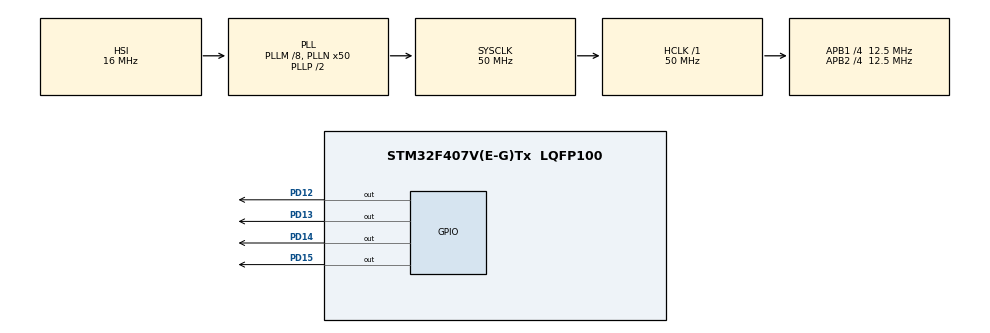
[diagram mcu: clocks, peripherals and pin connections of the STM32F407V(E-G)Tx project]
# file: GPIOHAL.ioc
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FREERTOS.INCLUDE_vTaskDelayUntil=1
FREERTOS.Tasks01=defaultTask,0,128,StartDefaultTask,Default,NULL,Dynamic,NULL,NULL;myTask02,-3,128,StartTask02,Default,NULL,Dynamic,NULL,NULL
FREERTOS.configUSE_NEWLIB_REENTRANT=1
Mcu.Family=STM32F4
Mcu.Name=STM32F407V(E-G)Tx
Mcu.Package=LQFP100
NVIC.PriorityGroup=NVIC_PRIORITYGROUP_4
PD12.Signal=GPIO_Output
PD13.Signal=GPIO_Output
PD14.Signal=GPIO_Output
PD15.Signal=GPIO_Output
ProjectManager.HeapSize=0x200
ProjectManager.StackSize=0x400
ProjectManager.TargetToolchain=STM32CubeIDE
RCC.48MHZClocksFreq_Value=14285714.285714285
RCC.AHBFreq_Value=50000000
RCC.APB1CLKDivider=RCC_HCLK_DIV4
RCC.APB1Freq_Value=12500000
RCC.APB1TimFreq_Value=25000000
RCC.APB2CLKDivider=RCC_HCLK_DIV4
RCC.APB2Freq_Value=12500000
RCC.APB2TimFreq_Value=25000000
RCC.CortexFreq_Value=50000000
RCC.HCLKFreq_Value=50000000
RCC.HSE_VALUE=8000000
RCC.HSI_VALUE=16000000
RCC.LSE_VALUE=32768
RCC.PLLM=8
RCC.PLLN=50
RCC.PLLQ=7
RCC.SYSCLKFreq_VALUE=50000000
RCC.SYSCLKSource=RCC_SYSCLKSOURCE_PLLCLK
RCC.VCOOutputFreq_Value=100000000
VP_FREERTOS_VS_CMSIS_V1.Mode=CMSIS_V1
board=STM32F407G-DISC1

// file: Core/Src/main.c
/* USER CODE BEGIN Header */
/**
  ******************************************************************************
  * @file           : main.c
  * @brief          : Main program body
  ******************************************************************************
  * @attention
  *
  * Copyright (c) 2024 STMicroelectronics.
  * All rights reserved.
  *
  * This software is licensed under terms that can be found in the LICENSE file
  * in the root directory of this software component.
  * If no LICENSE file comes with this software, it is provided AS-IS.
  *
  ******************************************************************************
  */
/* USER CODE END Header */
#include "main.h"
#include "cmsis_os.h"

osThreadId defaultTaskHandle;
osThreadId myTask02Handle;

void SystemClock_Config(void);
static void MX_GPIO_Init(void);
void StartDefaultTask(void const * argument);
void StartTask02(void const * argument);

/* USER CODE BEGIN 0 */
/*
void vCountinuousTask(void *pvParam){
	uint16_t pin =(uint16_t)pvParam;
	while(1){
			HAL_GPIO_TogglePin(GPIOD,pin);
			vTaskDelay(2000/portTICK_RATE_MS);
	}
	vTaskDelete(NULL);
}
*/
void vPeriodicTask(void *pvParam)
{
	uint16_t pin =(uint16_t)pvParam;
	portTickType xLastWakeupTime =  xTaskGetTickCount();
	while (1)
	{
		HAL_GPIO_TogglePin(GPIOD,pin);
		vTaskDelayUntil(&xLastWakeupTime ,3000 / portTICK_RATE_MS);
	}
}

/* USER CODE END 0 */

int main(void)
{

  /* USER CODE BEGIN 1 */
  BaseType_t xRet;
  /* USER CODE END 1 */

  /* MCU Configuration--------------------------------------------------------*/

  /* Reset of all peripherals, Initializes the Flash interface and the Systick. */
  HAL_Init();

  /* Configure the system clock */
  SystemClock_Config();

  /* Initialize all configured peripherals */
  MX_GPIO_Init();

  /* Create the thread(s) */
  /* definition and creation of defaultTask */
  osThreadDef(defaultTask, StartDefaultTask, osPriorityNormal, 0, 128);
  defaultTaskHandle = osThreadCreate(osThread(defaultTask), NULL);

  /* definition and creation of myTask02 */
  osThreadDef(myTask02, StartTask02, osPriorityIdle, 0, 128);
  myTask02Handle = osThreadCreate(osThread(myTask02), NULL);

  /* USER CODE BEGIN RTOS_THREADS */
  /* add threads, ... */
  xRet = xTaskCreate(vPeriodicTask, "Task2", configMINIMAL_STACK_SIZE , (void *)GPIO_PIN_14,4, NULL);
             if(xRet != pdTRUE)
           	  Error_Handler();
      xRet = xTaskCreate(vPeriodicTask, "Task2", configMINIMAL_STACK_SIZE , (void *)GPIO_PIN_15,4, NULL);
                   if(xRet != pdTRUE)
                 	  Error_Handler();
    xRet = xTaskCreate(vPeriodicTask, "Task2", configMINIMAL_STACK_SIZE , (void *)GPIO_PIN_13,4, NULL);
           if(xRet != pdTRUE)
         	  Error_Handler();
    xRet = xTaskCreate(vPeriodicTask, "Task2", configMINIMAL_STACK_SIZE , (void *)GPIO_PIN_12,4, NULL);
                 if(xRet != pdTRUE)
               	  Error_Handler();
  /* USER CODE END RTOS_THREADS */

  /* Start scheduler */
  osKernelStart();

  /* We should never get here as control is now taken by the scheduler */

  /* Infinite loop */
  while (1)
  {

  }
}

void SystemClock_Config(void)
{
  RCC_OscInitTypeDef RCC_OscInitStruct = {0};
  RCC_ClkInitTypeDef RCC_ClkInitStruct = {0};

  /** Configure the main internal regulator output voltage
  */
  __HAL_RCC_PWR_CLK_ENABLE();
  __HAL_PWR_VOLTAGESCALING_CONFIG(PWR_REGULATOR_VOLTAGE_SCALE1);

  /** Initializes the RCC Oscillators according to the specified parameters
  * in the RCC_OscInitTypeDef structure.
  */
  RCC_OscInitStruct.OscillatorType = RCC_OSCILLATORTYPE_HSI;
  RCC_OscInitStruct.HSIState = RCC_HSI_ON;
  RCC_OscInitStruct.HSICalibrationValue = RCC_HSICALIBRATION_DEFAULT;
  RCC_OscInitStruct.PLL.PLLState = RCC_PLL_ON;
  RCC_OscInitStruct.PLL.PLLSource = RCC_PLLSOURCE_HSI;
  RCC_OscInitStruct.PLL.PLLM = 8;
  RCC_OscInitStruct.PLL.PLLN = 50;
  RCC_OscInitStruct.PLL.PLLP = RCC_PLLP_DIV2;
  RCC_OscInitStruct.PLL.PLLQ = 7;
  if (HAL_RCC_OscConfig(&RCC_OscInitStruct) != HAL_OK)
  {
    Error_Handler();
  }

  /** Initializes the CPU, AHB and APB buses clocks
  */
  RCC_ClkInitStruct.ClockType = RCC_CLOCKTYPE_HCLK|RCC_CLOCKTYPE_SYSCLK
                              |RCC_CLOCKTYPE_PCLK1|RCC_CLOCKTYPE_PCLK2;
  RCC_ClkInitStruct.SYSCLKSource = RCC_SYSCLKSOURCE_PLLCLK;
  RCC_ClkInitStruct.AHBCLKDivider = RCC_SYSCLK_DIV1;
  RCC_ClkInitStruct.APB1CLKDivider = RCC_HCLK_DIV4;
  RCC_ClkInitStruct.APB2CLKDivider = RCC_HCLK_DIV4;

  if (HAL_RCC_ClockConfig(&RCC_ClkInitStruct, FLASH_LATENCY_1) != HAL_OK)
  {
    Error_Handler();
  }
}

static void MX_GPIO_Init(void)
{
  GPIO_InitTypeDef GPIO_InitStruct = {0};

  /* GPIO Ports Clock Enable */
  __HAL_RCC_GPIOD_CLK_ENABLE();

  /*Configure GPIO pin Output Level */
  HAL_GPIO_WritePin(GPIOD, GPIO_PIN_12|GPIO_PIN_13|GPIO_PIN_14|GPIO_PIN_15, GPIO_PIN_RESET);

  /*Configure GPIO pins : PD12 PD13 PD14 PD15 */
  GPIO_InitStruct.Pin = GPIO_PIN_12|GPIO_PIN_13|GPIO_PIN_14|GPIO_PIN_15;
  GPIO_InitStruct.Mode = GPIO_MODE_OUTPUT_PP;
  GPIO_InitStruct.Pull = GPIO_NOPULL;
  GPIO_InitStruct.Speed = GPIO_SPEED_FREQ_LOW;
  HAL_GPIO_Init(GPIOD, &GPIO_InitStruct);

}

void StartDefaultTask(void const * argument)
{
  for(;;)
  {
    osDelay(1);
  }
}

void StartTask02(void const * argument)
{
  for(;;)
  {
    osDelay(1);
  }
}

void Error_Handler(void)
{
  __disable_irq();
  while (1)
  {
  }
}
